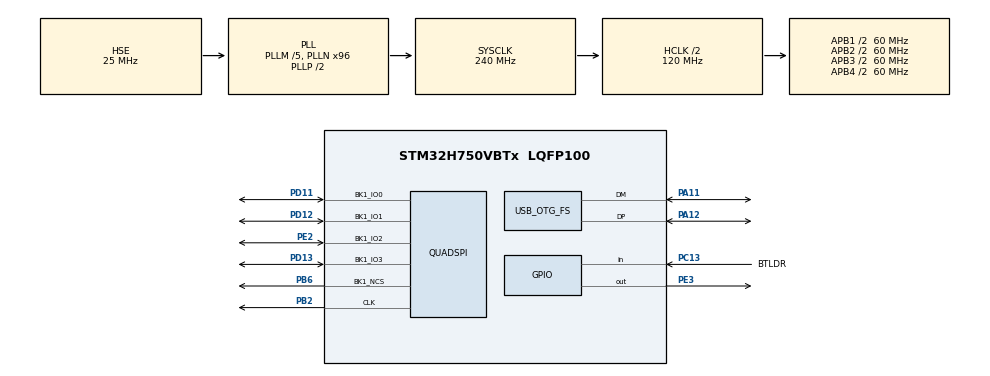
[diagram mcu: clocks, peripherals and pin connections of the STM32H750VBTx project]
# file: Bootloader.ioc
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CORTEX_M7.AccessPermission-Cortex_Memory_Protection_Unit_Region0_Settings=MPU_REGION_NO_ACCESS
CORTEX_M7.AccessPermission-Cortex_Memory_Protection_Unit_Region2_Settings=MPU_REGION_FULL_ACCESS
CORTEX_M7.BaseAddress-Cortex_Memory_Protection_Unit_Region0_Settings=0x0
CORTEX_M7.BaseAddress-Cortex_Memory_Protection_Unit_Region2_Settings=0x90000000
CORTEX_M7.CPU_DCache=Disabled
CORTEX_M7.CPU_ICache=Disabled
CORTEX_M7.DisableExec-Cortex_Memory_Protection_Unit_Region0_Settings=MPU_INSTRUCTION_ACCESS_DISABLE
CORTEX_M7.Enable-Cortex_Memory_Protection_Unit_Region0_Settings=MPU_REGION_ENABLE
CORTEX_M7.Enable-Cortex_Memory_Protection_Unit_Region2_Settings=MPU_REGION_ENABLE
CORTEX_M7.IsBufferable-Cortex_Memory_Protection_Unit_Region2_Settings=MPU_ACCESS_BUFFERABLE
CORTEX_M7.IsCacheable-Cortex_Memory_Protection_Unit_Region0_Settings=MPU_ACCESS_NOT_CACHEABLE
CORTEX_M7.IsCacheable-Cortex_Memory_Protection_Unit_Region2_Settings=MPU_ACCESS_CACHEABLE
CORTEX_M7.MPU_Control=__NULL
CORTEX_M7.Size-Cortex_Memory_Protection_Unit_Region0_Settings=MPU_REGION_SIZE_4GB
CORTEX_M7.Size-Cortex_Memory_Protection_Unit_Region2_Settings=MPU_REGION_SIZE_8MB
CORTEX_M7.SubRegionDisable-Cortex_Memory_Protection_Unit_Region0_Settings=0x87
Mcu.Family=STM32H7
Mcu.Name=STM32H750VBTx
Mcu.Package=LQFP100
NVIC.OTG_FS_IRQn=true\:0\:0\:false\:false\:true\:false\:true\:true
NVIC.PriorityGroup=NVIC_PRIORITYGROUP_4
PA11.GPIO_Speed=GPIO_SPEED_FREQ_VERY_HIGH
PA11.Mode=Device_Only
PA11.Signal=USB_OTG_FS_DM
PA12.GPIO_Speed=GPIO_SPEED_FREQ_VERY_HIGH
PA12.Mode=Device_Only
PA12.Signal=USB_OTG_FS_DP
PB2.GPIO_Speed=GPIO_SPEED_FREQ_VERY_HIGH
PB2.Mode=Single Bank 1
PB2.Signal=QUADSPI_CLK
PB6.GPIO_Speed=GPIO_SPEED_FREQ_VERY_HIGH
PB6.Mode=Single Bank 1
PB6.Signal=QUADSPI_BK1_NCS
PC13.GPIO_Label=BTLDR
PC13.GPIO_PuPd=GPIO_PULLDOWN
PC13.Signal=GPIO_Input
PD11.GPIO_Speed=GPIO_SPEED_FREQ_VERY_HIGH
PD11.Mode=Single Bank 1
PD11.Signal=QUADSPI_BK1_IO0
PD12.GPIO_Speed=GPIO_SPEED_FREQ_VERY_HIGH
PD12.Mode=Single Bank 1
PD12.Signal=QUADSPI_BK1_IO1
PD13.GPIO_Speed=GPIO_SPEED_FREQ_VERY_HIGH
PD13.Mode=Single Bank 1
PD13.Signal=QUADSPI_BK1_IO3
PE2.GPIO_Speed=GPIO_SPEED_FREQ_VERY_HIGH
PE2.Mode=Single Bank 1
PE2.Signal=QUADSPI_BK1_IO2
PE3.Signal=GPIO_Output
PH0-OSC_IN\ (PH0).Mode=HSE-External-Oscillator
PH0-OSC_IN\ (PH0).Signal=RCC_OSC_IN
PH1-OSC_OUT\ (PH1).Mode=HSE-External-Oscillator
PH1-OSC_OUT\ (PH1).Signal=RCC_OSC_OUT
ProjectManager.HeapSize=0x200
ProjectManager.StackSize=0x400
ProjectManager.TargetToolchain=STM32CubeIDE
QUADSPI.ChipSelectHighTime=QSPI_CS_HIGH_TIME_8_CYCLE
QUADSPI.ClockMode=QSPI_CLOCK_MODE_3
QUADSPI.ClockPrescaler=1
QUADSPI.FifoThreshold=32
QUADSPI.FlashSize=22
QUADSPI.SampleShifting=QSPI_SAMPLE_SHIFTING_HALFCYCLE
RCC.ADCFreq_Value=50390625
RCC.APB1Freq_Value=60000000
RCC.APB2Freq_Value=60000000
RCC.APB3Freq_Value=60000000
RCC.APB4Freq_Value=60000000
RCC.CortexFreq_Value=240000000
RCC.D1PPRE=RCC_APB3_DIV2
RCC.D2PPRE1=RCC_APB1_DIV2
RCC.D2PPRE2=RCC_APB2_DIV2
RCC.D3PPRE=RCC_APB4_DIV2
RCC.DIVM1=5
RCC.DIVN1=96
RCC.DIVQ1=1
RCC.HCLKFreq_Value=120000000
RCC.HPRE=RCC_HCLK_DIV2
RCC.PLLSourceVirtual=RCC_PLLSOURCE_HSE
RCC.SYSCLKFreq_VALUE=240000000
RCC.SYSCLKSource=RCC_SYSCLKSOURCE_PLLCLK
RCC.USBCLockSelection=RCC_USBCLKSOURCE_HSI48
RCC.USBFreq_Value=48000000
USB_DEVICE.CLASS_NAME_FS=DFU
USB_DEVICE.USBD_DFU_APP_DEFAULT_ADD-DFU_FS=0x90000000
USB_DEVICE.USBD_DFU_MEDIA-DFU_FS=@Internal Flash   /0x90000000/2048*004Kg
USB_DEVICE.USBD_DFU_XFER_SIZE-DFU_FS=4096
USB_DEVICE.VirtualMode-DFU_FS=Dfu
USB_DEVICE.VirtualModeFS=Dfu_FS
USB_OTG_FS.VirtualMode=Device_Only
VP_USB_DEVICE_VS_USB_DEVICE_DFU_FS.Mode=DFU_FS
board=custom

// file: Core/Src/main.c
/* USER CODE BEGIN Header */
/**
  ******************************************************************************
  * @file           : main.c
  * @brief          : Main program body
  ******************************************************************************
  * @attention
  *
  * Copyright (c) 2021 STMicroelectronics.
  * All rights reserved.
  *
  * This software is licensed under terms that can be found in the LICENSE file
  * in the root directory of this software component.
  * If no LICENSE file comes with this software, it is provided AS-IS.
  *
  ******************************************************************************
  */
/* USER CODE END Header */
#include "main.h"
#include "gpio.h"

/* USER CODE BEGIN Includes */
#include "w25qxx_qspi.h"
#include "usb_device.h"
/* USER CODE END Includes */

void SystemClock_Config(void);

/* USER CODE BEGIN 0 */
typedef  void (*pFunction)(void);

void app_Jump(uint32_t addr)
{
	pFunction JumpToApplication;
	uint32_t JumpAddress;

	/* Jump to user application */
	JumpAddress = *(__IO uint32_t*) (addr + 4);
	JumpToApplication = (pFunction) JumpAddress;

	/* Initialize user application's Stack Pointer */
	//__disable_irq();
	SysTick->CTRL = 0;
	__set_MSP(*(__IO uint32_t*) addr);
	SCB->VTOR = QSPI_BASE;
	JumpToApplication();
}

uint8_t app_IsReady(uint32_t addr)
{
  uint32_t data;

  W25qxx_Read((uint8_t *)&data,addr - QSPI_BASE,sizeof(data));

	if((data & 0x2FF00000 ) == 0x24000000)
		return SUCCESS;
	else if((data & 0x2FF00000 ) == 0x20000000)
		return SUCCESS;
  else if((data & 0x3FF00000 ) == 0x30000000)
		return SUCCESS;
 	else if((data & 0x3FF00000 ) == 0x00000000)
		return SUCCESS;
	else
		return ERROR;
}

/* USER CODE END 0 */

int main(void)
{

  /* MCU Configuration--------------------------------------------------------*/

  /* Reset of all peripherals, Initializes the Flash interface and the Systick. */
  HAL_Init();

  /* Configure the system clock */
  SystemClock_Config();

  /* Initialize all configured peripherals */
  MX_GPIO_Init();
  /* USER CODE BEGIN 2 */

  w25qxx_Init();
  w25qxx_EnterQPI();
  //w25qxx_Startup(w25qxx_DTRMode);

  if ((HAL_GPIO_ReadPin(BTLDR_GPIO_Port, BTLDR_Pin) == GPIO_PIN_RESET) &&
		  (app_IsReady(QSPI_BASE) == SUCCESS)) {

	  w25qxx_Startup(w25qxx_DTRMode);

	  SysTick->CTRL = 0;

	  pFunction JumpToApplication;
	  uint32_t JumpAddress;

	  /* Jump to user application */
	  JumpAddress = *(__IO uint32_t*) (QSPI_BASE + 4);
	  JumpToApplication = (pFunction) JumpAddress;

	  /* Initialize user application's Stack Pointer */
	  __set_MSP(*(__IO uint32_t*) QSPI_BASE);
	  JumpToApplication();

	  //w25qxx_Startup(w25qxx_NormalMode);
	  //app_Jump(QSPI_BASE);
  }

  MX_USB_DEVICE_Init();
  /* USER CODE END 2 */

  /* Infinite loop */
  /* USER CODE BEGIN WHILE */
  while (1)
  {
	  HAL_GPIO_TogglePin(GPIOE, GPIO_PIN_3);
	      HAL_Delay(50);
	      HAL_GPIO_TogglePin(GPIOE, GPIO_PIN_3);
	      HAL_Delay(50);
	      HAL_GPIO_TogglePin(GPIOE, GPIO_PIN_3);
	  		HAL_Delay(500);
    /* USER CODE END WHILE */

  }
}

void SystemClock_Config(void)
{
  RCC_OscInitTypeDef RCC_OscInitStruct = {0};
  RCC_ClkInitTypeDef RCC_ClkInitStruct = {0};

  /** Supply configuration update enable
  */
  HAL_PWREx_ConfigSupply(PWR_LDO_SUPPLY);

  /** Configure the main internal regulator output voltage
  */
  __HAL_PWR_VOLTAGESCALING_CONFIG(PWR_REGULATOR_VOLTAGE_SCALE2);

  while(!__HAL_PWR_GET_FLAG(PWR_FLAG_VOSRDY)) {}

  /** Initializes the RCC Oscillators according to the specified parameters
  * in the RCC_OscInitTypeDef structure.
  */
  RCC_OscInitStruct.OscillatorType = RCC_OSCILLATORTYPE_HSI48|RCC_OSCILLATORTYPE_HSE;
  RCC_OscInitStruct.HSEState = RCC_HSE_ON;
  RCC_OscInitStruct.HSI48State = RCC_HSI48_ON;
  RCC_OscInitStruct.PLL.PLLState = RCC_PLL_ON;
  RCC_OscInitStruct.PLL.PLLSource = RCC_PLLSOURCE_HSE;
  RCC_OscInitStruct.PLL.PLLM = 5;
  RCC_OscInitStruct.PLL.PLLN = 96;
  RCC_OscInitStruct.PLL.PLLP = 2;
  RCC_OscInitStruct.PLL.PLLQ = 1;
  RCC_OscInitStruct.PLL.PLLR = 2;
  RCC_OscInitStruct.PLL.PLLRGE = RCC_PLL1VCIRANGE_2;
  RCC_OscInitStruct.PLL.PLLVCOSEL = RCC_PLL1VCOWIDE;
  RCC_OscInitStruct.PLL.PLLFRACN = 0;
  if (HAL_RCC_OscConfig(&RCC_OscInitStruct) != HAL_OK)
  {
    Error_Handler();
  }

  /** Initializes the CPU, AHB and APB buses clocks
  */
  RCC_ClkInitStruct.ClockType = RCC_CLOCKTYPE_HCLK|RCC_CLOCKTYPE_SYSCLK
                              |RCC_CLOCKTYPE_PCLK1|RCC_CLOCKTYPE_PCLK2
                              |RCC_CLOCKTYPE_D3PCLK1|RCC_CLOCKTYPE_D1PCLK1;
  RCC_ClkInitStruct.SYSCLKSource = RCC_SYSCLKSOURCE_PLLCLK;
  RCC_ClkInitStruct.SYSCLKDivider = RCC_SYSCLK_DIV1;
  RCC_ClkInitStruct.AHBCLKDivider = RCC_HCLK_DIV2;
  RCC_ClkInitStruct.APB3CLKDivider = RCC_APB3_DIV2;
  RCC_ClkInitStruct.APB1CLKDivider = RCC_APB1_DIV2;
  RCC_ClkInitStruct.APB2CLKDivider = RCC_APB2_DIV2;
  RCC_ClkInitStruct.APB4CLKDivider = RCC_APB4_DIV2;

  if (HAL_RCC_ClockConfig(&RCC_ClkInitStruct, FLASH_LATENCY_2) != HAL_OK)
  {
    Error_Handler();
  }
}

void Error_Handler(void)
{
  /* USER CODE BEGIN Error_Handler_Debug */
  /* User can add his own implementation to report the HAL error return state */
  __disable_irq();
  volatile int  i = 0;
  while (1)
  {
	  HAL_GPIO_TogglePin(GPIOE, GPIO_PIN_3);
	  for (i = 0 ;i < 10000000; ++i);
  }
  /* USER CODE END Error_Handler_Debug */
}
